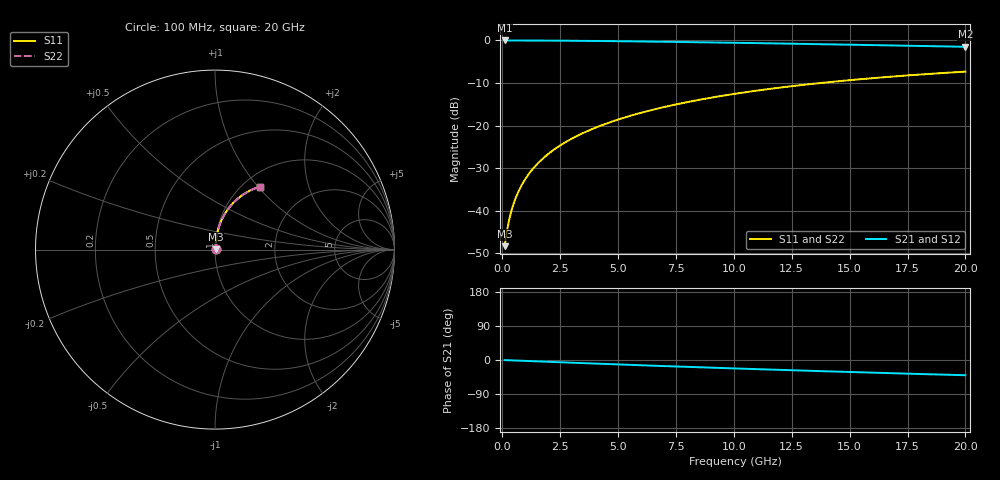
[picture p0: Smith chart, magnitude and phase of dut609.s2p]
! Touchstone file exported from HFSS 2024.1.0
!  File:  C:/UserFiles/LocalFiles/RDL_TSV_Batchsim/temp_RDL_bottom_609_1779783540.aedt
!  Generated:  04:21:39 PM May 26, 2026
!  Design:  RDL_bottom
!  Project:  temp_RDL_bottom_609_1779783540
!  Setup:  Setup1
!  Solution:  Sweep
! Variables:
!  dtsv = 10.80580581um
!  hbump = 3um
!  htsv = 67.63um
!  ldown = 509.19um
!  lrdl = 100um
!  p = 40
!  p1 = 57.86um
!  rhole = 1um
!  t = 450um
!  tdown = 3.62um
!  trdl = 3.915915916um
!  wdown = 17.82um
!  wrdl = 20um
# GHz S MA R 50.000000
! Terminal data exported
! Port[1] = RDL1_T1
! Port[2] = RDL1_T2
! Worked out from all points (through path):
!   200 points, 100 MHz to 20 GHz, reference 50 ohm
!   highest |S21| = -0.03 dB at 100 MHz (marker M1); lowest = -1.5 dB at 20 GHz (marker M2)
!   group delay of S21, straight-line fit = 5.56 ps
!   lowest |S11| = -48.3 dB at 100 MHz (marker M3), VSWR 1.01, Z = 50.3 + j0.247 ohm
!   |S11| at or under -10 dB: start of sweep to 13.77 GHz
!   |S22| runs from -48.3 to -7.3 dB; largest |S21 - S12| = 2.7e-15
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0.1  0.003833 39.8  0.997 -0.2  0.997 -0.2  0.003833 39.8
! Gamma 0 0 0 0
! Port Impedance 50 0 50 0
0.2  0.005739 57.9  0.9969 -0.5  0.9969 -0.5  0.005739 57.9
0.3  0.007892 66.3  0.9968 -0.7  0.9968 -0.7  0.007892 66.3
0.4  0.01011 71.0  0.9966 -1.0  0.9966 -1.0  0.01011 71.0
0.5  0.01234 73.9  0.9965 -1.2  0.9965 -1.2  0.01234 73.9
0.6  0.01459 76.0  0.9963 -1.5  0.9963 -1.5  0.01459 76.0
0.8  0.01911 78.7  0.996 -1.9  0.996 -1.9  0.01911 78.7
1.1  0.02595 80.8  0.9955 -2.7  0.9955 -2.7  0.02595 80.8
1.5  0.03515 82.2  0.9946 -3.6  0.9946 -3.6  0.03515 82.2
1.8  0.04209 82.7  0.9937 -4.3  0.9937 -4.3  0.04209 82.7
2.1  0.04906 83.0  0.9928 -5.0  0.9928 -5.0  0.04906 83.0
2.7  0.06307 83.0  0.9904 -6.4  0.9904 -6.4  0.06307 83.0
3.5  0.08188 82.5  0.9866 -8.3  0.9866 -8.3  0.08188 82.5
4.2  0.09844 81.8  0.9826 -9.9  0.9826 -9.9  0.09844 81.8
5  0.1174 80.8  0.9775 -11.7  0.9775 -11.7  0.1174 80.8
5.9  0.1389 79.5  0.9711 -13.7  0.9711 -13.7  0.1389 79.5
6.8  0.1603 78.0  0.9642 -15.6  0.9642 -15.6  0.1603 78.0
8.4  0.1979 75.3  0.951 -19.0  0.951 -19.0  0.1979 75.3
10.1  0.237 72.2  0.9359 -22.4  0.9359 -22.4  0.237 72.2
13.4  0.3086 66.1  0.9049 -28.7  0.9049 -28.7  0.3086 66.1
16.7  0.3729 60.2  0.8727 -34.7  0.8727 -34.7  0.3729 60.2
20  0.4294 54.7  0.8402 -40.2  0.8402 -40.2  0.4294 54.7
